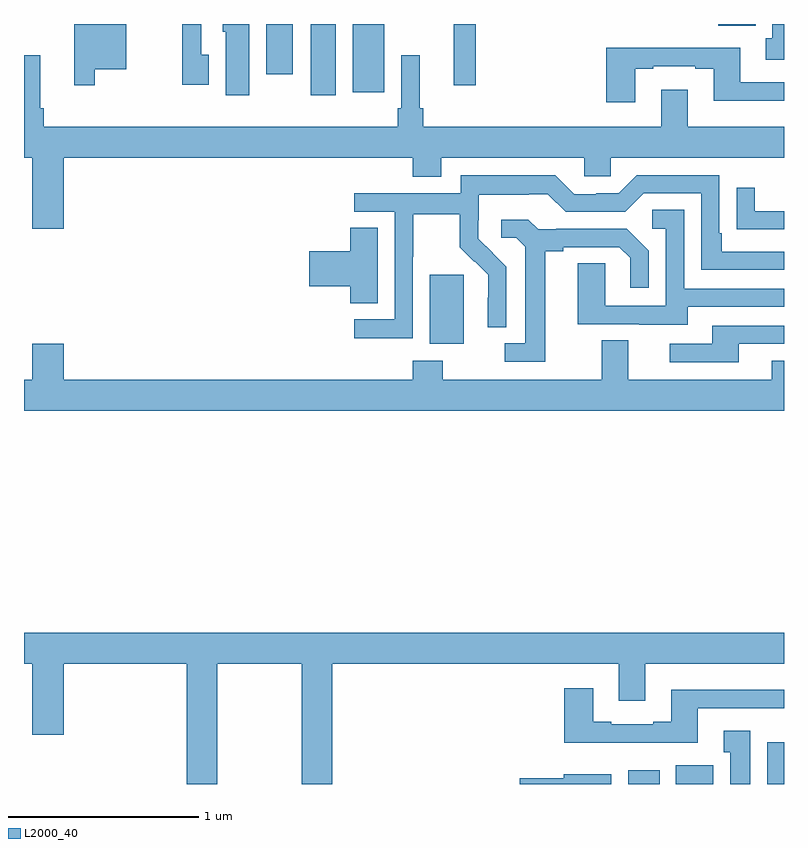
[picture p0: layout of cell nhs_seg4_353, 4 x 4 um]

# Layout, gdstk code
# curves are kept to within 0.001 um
import gdstk
lib = gdstk.Library(unit=1e-6, precision=1e-09)
def R(c, l, rs):  # rectangles x0, y0, x1, y1
    for r in rs: c.add(gdstk.rectangle(r[:2], r[2:], *l))
def P(c, l, *ps):  # polygons
    for p in ps: c.add(gdstk.Polygon(p, *l))
L2000_40 = (2000, 40)

nhs_seg4_353 = lib.new_cell('nhs_seg4_353')
R(nhs_seg4_353, L2000_40, [(132.179,750.9,132.346,750.973), (132.431,750.9,132.628,751), (132.911,750.9,133,751.12), (131.135,753.218,131.314,753.579), (130.508,754.524,130.642,754.9), (130.73,754.542,130.897,754.9), (130.274,754.635,130.414,754.9), (132.653,754.892,132.85,754.9)])
P(nhs_seg4_353, L2000_40, [(133,754.9),(132.938,754.9),(132.938,754.826),(132.905,754.826),(132.905,754.713),(133,754.713)],
  [(130.186,754.9),(130.046,754.9),(130.046,754.86),(130.061,754.86),(130.061,754.524),(130.186,754.524)],
  [(131.378,754.9),(131.262,754.9),(131.262,754.88),(131.261,754.88),(131.261,754.578),(131.378,754.578)],
  [(129.973,754.737),(129.933,754.737),(129.933,754.9),(129.832,754.9),(129.832,754.581),(129.973,754.581)],
  [(129.373,754.661),(129.538,754.661),(129.538,754.9),(129.264,754.9),(129.264,754.578),(129.373,754.578)],
  [(132.217,754.665),(132.313,754.665),(132.313,754.677),(132.533,754.677),(132.533,754.665),(132.629,754.665),(132.629,754.496),(133,754.496),(133,754.593),(132.769,754.593),(132.769,754.774),(132.065,754.774),(132.065,754.488),(132.217,754.488)],
  [(129.208,754.196),(131.045,754.196),(131.045,754.097),(131.197,754.097),(131.197,754.196),(131.949,754.196),(131.949,754.098),(132.087,754.098),(132.087,754.196),(133,754.196),(133,754.36),(132.493,754.36),(132.493,754.555),(132.353,754.555),(132.353,754.36),(131.102,754.36),(131.102,754.456),(131.084,754.456),(131.084,754.735),(130.986,754.735),(130.986,754.456),(130.966,754.456),(130.966,754.36),(129.104,754.36),(129.104,754.456),(129.086,754.456),(129.086,754.735),(129,754.735),(129,754.196),(129.044,754.196),(129.044,753.822),(129.208,753.822)],
  [(130.95,753.912),(130.95,753.345),(130.737,753.345),(130.737,753.247),(131.046,753.247),(131.046,753.676),(131.049,753.676),(131.049,753.9),(131.293,753.9),(131.293,753.725),(131.37,753.648),(131.373,753.651),(131.444,753.581),(131.444,753.458),(131.442,753.458),(131.442,753.304),(131.538,753.304),(131.538,753.622),(131.392,753.77),(131.392,753.867),(131.394,753.867),(131.394,754.001),(131.657,754.001),(131.657,754.005),(131.757,754.005),(131.85,753.912),(132.165,753.912),(132.261,754.008),(132.564,754.008),(132.564,753.606),(133,753.606),(133,753.702),(132.673,753.702),(132.673,753.799),(132.66,753.799),(132.66,754.104),(132.225,754.104),(132.129,754.008),(132.011,754.008),(132.011,754.005),(131.895,754.005),(131.795,754.105),(131.298,754.105),(131.298,754.008),(130.737,754.008),(130.737,753.912)],
  [(133,753.915),(132.847,753.915),(132.847,754.039),(132.751,754.039),(132.751,753.82),(132.853,753.82),(132.853,753.819),(133,753.819)],
  [(132.493,753.411),(133,753.411),(133,753.507),(132.474,753.507),(132.474,753.923),(132.306,753.923),(132.306,753.822),(132.378,753.822),(132.378,753.417),(132.06,753.417),(132.06,753.641),(131.915,753.641),(131.915,753.321),(132.239,753.321),(132.239,753.317),(132.493,753.317)],
  [(131.743,753.704),(131.839,753.704),(131.839,753.726),(132.134,753.726),(132.191,753.669),(132.191,753.513),(132.288,753.513),(132.288,753.706),(132.172,753.822),(131.8,753.822),(131.8,753.819),(131.706,753.819),(131.654,753.871),(131.511,753.871),(131.511,753.774),(131.592,753.774),(131.639,753.727),(131.639,753.219),(131.529,753.219),(131.529,753.123),(131.743,753.123)],
  [(130.861,753.827),(130.718,753.827),(130.718,753.704),(130.5,753.704),(130.5,753.521),(130.718,753.521),(130.718,753.43),(130.861,753.43)],
  [(132.763,753.216),(133,753.216),(133,753.312),(132.623,753.312),(132.623,753.216),(132.399,753.216),(132.399,753.12),(132.763,753.12)],
  [(133,753.127),(132.935,753.127),(132.935,753.028),(132.181,753.028),(132.181,753.236),(132.041,753.236),(132.041,753.028),(131.205,753.028),(131.205,753.127),(131.045,753.127),(131.045,753.028),(129.208,753.028),(129.208,753.217),(129.044,753.217),(129.044,753.028),(129,753.028),(129,752.864),(133,752.864)],
  [(130.017,751.532),(130.462,751.532),(130.462,750.9),(130.622,750.9),(130.622,751.532),(132.131,751.532),(132.131,751.338),(132.271,751.338),(132.271,751.532),(133,751.532),(133,751.696),(129,751.696),(129,751.532),(129.044,751.532),(129.044,751.158),(129.208,751.158),(129.208,751.532),(129.857,751.532),(129.857,750.9),(130.017,750.9)],
  [(132.547,751.299),(133,751.299),(133,751.396),(132.407,751.396),(132.407,751.228),(132.311,751.228),(132.311,751.215),(132.091,751.215),(132.091,751.228),(131.995,751.228),(131.995,751.405),(131.843,751.405),(131.843,751.118),(132.547,751.118)],
  [(132.823,751.18),(132.683,751.18),(132.683,751.067),(132.716,751.067),(132.716,750.9),(132.823,750.9)],
  [(132.091,750.952),(131.84,750.952),(131.84,750.929),(131.61,750.929),(131.61,750.9),(132.091,750.9)])

lib.write_gds('nhs_seg4_353.gds')
